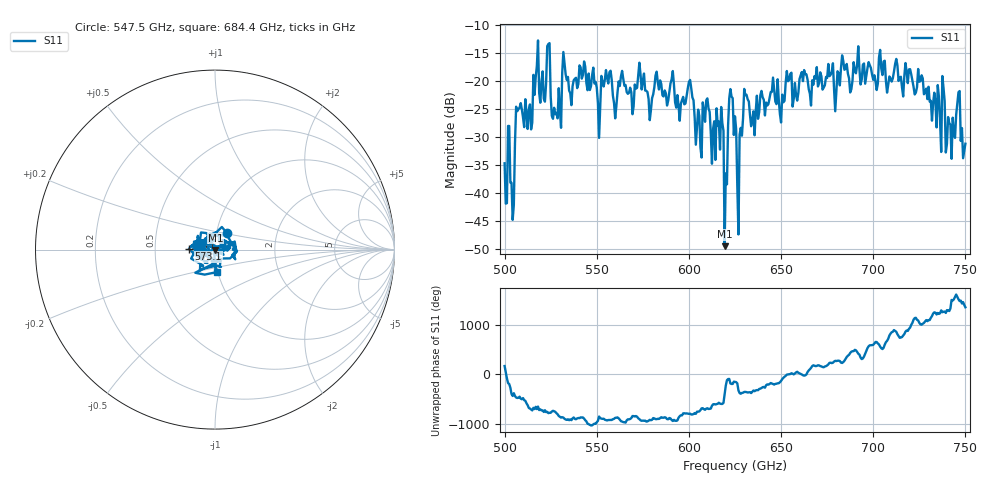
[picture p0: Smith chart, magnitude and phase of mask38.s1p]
!Created with skrf (http://scikit-rf.org).
# GHz S MA R 50.0
!freq magS11 angS11
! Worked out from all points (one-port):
!   401 points, 500 GHz to 750 GHz, reference 50 ohm
!   lowest |S11| = -49.4 dB at 619.4 GHz (marker M1), VSWR 1.01, Z = 50.3 - j0.199 ohm
!   |S11| at or under -10 dB: start of sweep to end of sweep
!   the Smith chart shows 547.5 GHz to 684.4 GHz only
!   S11 on the Smith chart (normalised r, x): 547.5 GHz: 1.12, +0.21; 573.1 GHz: 0.75, +0.01; 684.4 GHz: 0.99, -0.25
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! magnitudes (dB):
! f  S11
! 500 GHz  -34.6
! 504.4 GHz  -44.7
! 507.5 GHz  -25.0
! 513.8 GHz  -24.2
! 516.9 GHz  -19.3
! 520.6 GHz  -18.3
! 523.8 GHz  -13.4
! 526.9 GHz  -24.8
! 531.2 GHz  -18.6
! 547.5 GHz  -18.9
! 562.5 GHz  -20.9
! 573.1 GHz  -16.7
! 593.8 GHz  -22.5
! 600.6 GHz  -19.8
! 616.2 GHz  -27.2
! 619.4 GHz  -49.4
! 622.5 GHz  -21.4
! 625 GHz  -26.3
! 627.5 GHz  -29.5
! 631.2 GHz  -22.4
! 634.4 GHz  -27.0
! 656.2 GHz  -24.5
! 684.4 GHz  -18.0
! 687.5 GHz  -22.0
! 718.8 GHz  -20.4
! 741.2 GHz  -27.5
! 746.2 GHz  -22.0
! 750 GHz  -31.2
